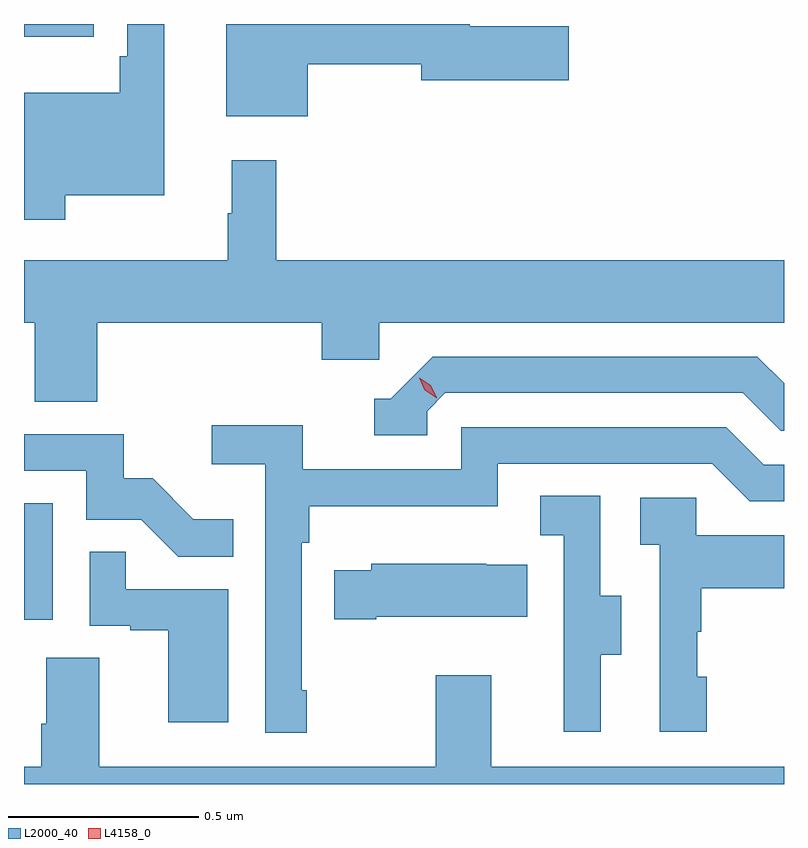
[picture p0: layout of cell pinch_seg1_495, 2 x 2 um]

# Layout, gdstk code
import gdstk
lib = gdstk.Library(unit=1e-6, precision=1e-09)
def R(c, l, rs):  # rectangles x0, y0, x1, y1
    for r in rs: c.add(gdstk.rectangle(r[:2], r[2:], *l))
def P(c, l, *ps):  # polygons
    for p in ps: c.add(gdstk.Polygon(p, *l))
L2000_40 = (2000, 40)
L4158_0 = (4158, 0)

pinch_seg1_495 = lib.new_cell('pinch_seg1_495')
R(pinch_seg1_495, L2000_40, [(1101.805,529.638,1101.88,529.945), (1101.805,531.173,1101.988,531.206)])
P(pinch_seg1_495, L2000_40, [(1101.913,530.756),(1102.174,530.756),(1102.174,531.206),(1102.077,531.206),(1102.077,531.121),(1102.057,531.121),(1102.057,531.025),(1101.805,531.025),(1101.805,530.691),(1101.913,530.691)],
  [(1102.552,531.1),(1102.85,531.1),(1102.85,531.058),(1103.239,531.058),(1103.239,531.2),(1102.978,531.2),(1102.978,531.206),(1102.337,531.206),(1102.337,530.963),(1102.552,530.963)],
  [(1101.998,530.42),(1102.589,530.42),(1102.589,530.322),(1102.74,530.322),(1102.74,530.42),(1103.805,530.42),(1103.805,530.584),(1102.469,530.584),(1102.469,530.848),(1102.352,530.848),(1102.352,530.708),(1102.341,530.708),(1102.341,530.584),(1101.805,530.584),(1101.805,530.42),(1101.833,530.42),(1101.833,530.212),(1101.998,530.212)],
  [(1102.866,530.187),(1102.914,530.235),(1103.697,530.235),(1103.796,530.136),(1103.805,530.136),(1103.805,530.26),(1103.734,530.331),(1102.881,530.331),(1102.77,530.22),(1102.727,530.22),(1102.727,530.124),(1102.866,530.124)],
  [(1102.549,529.453),(1102.536,529.453),(1102.536,529.841),(1102.556,529.841),(1102.556,529.937),(1103.052,529.937),(1103.052,530.049),(1103.616,530.049),(1103.715,529.95),(1103.805,529.95),(1103.805,530.046),(1103.752,530.046),(1103.653,530.145),(1102.956,530.145),(1102.956,530.034),(1102.538,530.034),(1102.538,530.15),(1102.299,530.15),(1102.299,530.048),(1102.44,530.048),(1102.44,529.341),(1102.549,529.341)],
  [(1102.355,529.903),(1102.251,529.903),(1102.144,530.01),(1102.068,530.01),(1102.068,530.127),(1101.805,530.127),(1101.805,530.031),(1101.969,530.031),(1101.969,529.902),(1102.113,529.902),(1102.211,529.804),(1102.355,529.804)],
  [(1103.323,529.546),(1103.377,529.546),(1103.377,529.701),(1103.322,529.701),(1103.322,529.964),(1103.163,529.964),(1103.163,529.861),(1103.226,529.861),(1103.226,529.557),(1103.225,529.557),(1103.225,529.344),(1103.323,529.344)],
  [(1103.602,529.488),(1103.577,529.488),(1103.577,529.607),(1103.587,529.607),(1103.587,529.721),(1103.805,529.721),(1103.805,529.861),(1103.574,529.861),(1103.574,529.959),(1103.427,529.959),(1103.427,529.835),(1103.478,529.835),(1103.478,529.344),(1103.602,529.344)],
  [(1102.342,529.719),(1102.073,529.719),(1102.073,529.817),(1101.978,529.817),(1101.978,529.623),(1102.085,529.623),(1102.085,529.611),(1102.184,529.611),(1102.184,529.368),(1102.342,529.368)],
  [(1102.732,529.646),(1103.129,529.646),(1103.129,529.783),(1103.021,529.783),(1103.021,529.786),(1102.719,529.786),(1102.719,529.768),(1102.621,529.768),(1102.621,529.639),(1102.732,529.639)],
  [(1103.805,529.252),(1103.035,529.252),(1103.035,529.492),(1102.888,529.492),(1102.888,529.252),(1102.003,529.252),(1102.003,529.538),(1101.863,529.538),(1101.863,529.364),(1101.851,529.364),(1101.851,529.252),(1101.805,529.252),(1101.805,529.206),(1103.805,529.206)])
P(pinch_seg1_495, L4158_0, [(1102.891,530.221),(1102.86,530.242),(1102.845,530.275),(1102.845,530.275),(1102.845,530.275),(1102.875,530.255),(1102.891,530.222),(1102.891,530.221)])

lib.write_gds('pinch_seg1_495.gds')
